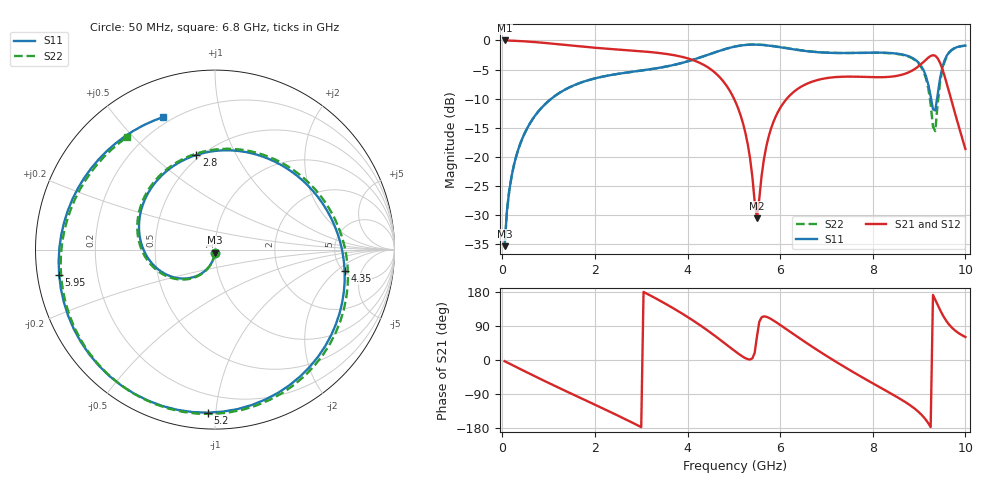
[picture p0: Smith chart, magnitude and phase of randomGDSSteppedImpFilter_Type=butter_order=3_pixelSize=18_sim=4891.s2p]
! freq	dB(S11)	phase(S11)	dB(S12)	phase(S12)
!  dB(S21)	phase(S21)	dB(S22)	phase(S22)
!S-par simulation data
#  GHz  S  DB  R 50
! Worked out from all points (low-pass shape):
!   200 points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, 50 MHz to 10 GHz, reference 50 ohm
!   highest |S21| = 0.00 dB at 50 MHz (marker M1); lowest = -30.6 dB at 5.5 GHz (marker M2)
!   |S21| within 3 dB of the highest: start of sweep to 3.97 GHz; 9.192 GHz to 9.394 GHz (202.2 MHz wide, 2.18 % of centre)
!   lowest |S11| = -35.3 dB at 50 MHz (marker M3), VSWR 1.03, Z = 49.9 - j1.7 ohm
!   |S11| at or under -10 dB: start of sweep to 1.06 GHz; 9.259 GHz to 9.389 GHz (129.9 MHz wide, 1.39 % of centre)
!   |S22| runs from -35.3 to -0.7 dB; largest |S21 - S12| = 0
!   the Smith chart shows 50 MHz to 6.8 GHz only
!   S11 on the Smith chart (normalised r, x): 50 MHz: 1.00, -0.03; 2.8 GHz: 0.48, +0.70; 4.35 GHz: 5.10, -2.60; 5.2 GHz: 0.09, -0.95; 5.95 GHz: 0.06, -0.08; 6.8 GHz: 0.17, +0.67
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0.05  -35.34 -93.1  -0.00 -3.1  -0.00 -3.1  -35.34 -92.9
0.2  -23.35 -102.9  -0.04 -12.4  -0.04 -12.4  -23.35 -102.4
0.5  -15.67 -121.9  -0.16 -30.7  -0.16 -30.7  -15.67 -120.7
1.1  -9.75 -158.3  -0.57 -66.4  -0.57 -66.4  -9.75 -155.7
1.75  -7.10 163.5  -1.08 -103.7  -1.08 -103.7  -7.10 167.7
2.8  -5.39 101.2  -1.74 -164.9  -1.74 -164.9  -5.40 107.8
3.4  -4.69 62.6  -2.17 156.8  -2.17 156.8  -4.69 70.0
4.35  -2.71 -9.3  -4.20 85.1  -4.20 85.1  -2.71 -2.4
5.05  -1.01 -76.7  -10.83 21.0  -10.83 21.0  -1.00 -69.9
5.2  -0.82 -92.5  -14.30 8.2  -14.30 8.2  -0.81 -85.5
5.5  -0.73 -124.5  -30.57 62.7  -30.57 62.7  -0.70 -116.5
5.7  -0.84 -145.4  -18.25 114.1  -18.25 114.1  -0.81 -136.5
5.95  -1.11 -170.8  -12.32 96.8  -12.32 96.8  -1.07 -160.4
6.7  -1.95 120.1  -7.05 34.4  -7.05 34.4  -1.92 135.8
6.8  -2.01 111.6  -6.81 26.5  -6.81 26.5  -1.99 128.0
7.5  -2.15 56.7  -6.21 -26.4  -6.21 -26.4  -2.17 75.7
8.35  -2.14 -0.9  -6.26 -85.6  -6.26 -85.6  -2.19 16.9
9.05  -4.44 -49.2  -4.03 -144.2  -4.03 -144.2  -4.64 -36.9
9.3  -11.82 -42.7  -2.54 171.6  -2.54 171.6  -14.83 -36.6
9.5  -4.74 -2.0  -4.85 121.0  -4.85 121.0  -5.11 21.9
9.7  -1.64 -25.1  -10.34 86.5  -10.34 86.5  -1.70 -5.8
10  -0.88 -48.2  -18.65 60.6  -18.65 60.6  -0.88 -31.3
